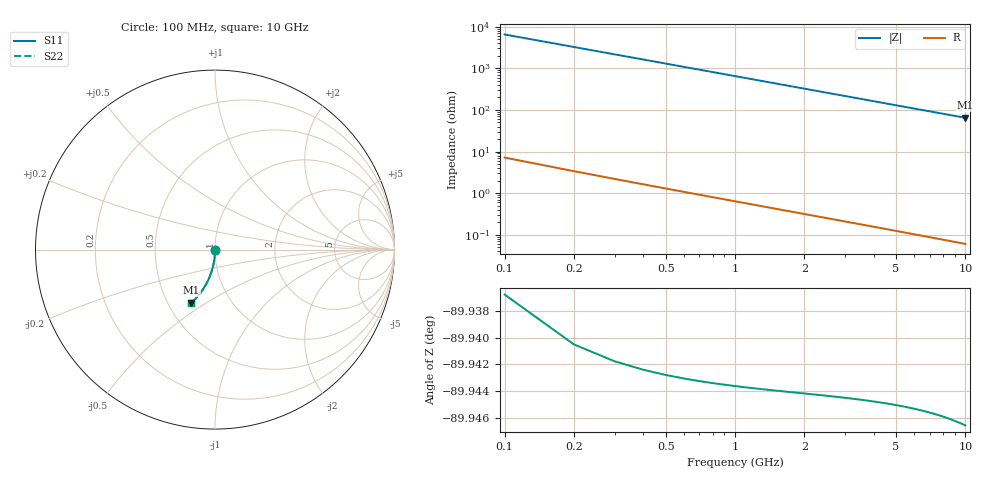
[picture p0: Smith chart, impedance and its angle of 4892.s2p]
# Hz S RI R 50.00
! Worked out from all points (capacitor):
!   100 points, 100 MHz to 10 GHz, reference 50 ohm
!   read as one part in shunt: C = 244 fF near 100 MHz
!   lowest |Z| = 64.9 ohm at 10 GHz (marker M1)
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1e8  9.66e-05 -0.00341  0.9999 -0.00427  0.9999 -0.00427  9.66e-05 -0.00341
2e8  5e-05 -0.00682  0.9998 -0.00854  0.9998 -0.00854  5e-05 -0.00682
3e8  -2.6e-05 -0.0102  0.9997 -0.0128  0.9997 -0.0128  -2.6e-05 -0.0102
4e8  -0.000131 -0.0136  0.9996 -0.0171  0.9996 -0.0171  -0.000131 -0.0136
5e8  -0.000266 -0.0171  0.9995 -0.0213  0.9995 -0.0213  -0.000266 -0.0171
6e8  -0.000429 -0.0205  0.9993 -0.0256  0.9993 -0.0256  -0.000429 -0.0205
7e8  -0.000622 -0.0239  0.9991 -0.0299  0.9991 -0.0299  -0.000622 -0.0239
8e8  -0.000844 -0.0273  0.9989 -0.0341  0.9989 -0.0341  -0.000844 -0.0273
9e8  -0.00109 -0.0307  0.9986 -0.0384  0.9986 -0.0384  -0.00109 -0.0307
1.1e9  -0.00168 -0.0375  0.998 -0.0469  0.998 -0.0469  -0.00168 -0.0375
1.4e9  -0.00279 -0.0477  0.9969 -0.0597  0.9969 -0.0597  -0.00279 -0.0477
1.8e9  -0.00466 -0.0612  0.995 -0.0766  0.995 -0.0766  -0.00466 -0.0612
2.1e9  -0.00637 -0.0713  0.9932 -0.0893  0.9932 -0.0893  -0.00637 -0.0713
2.5e9  -0.00904 -0.0846  0.9905 -0.1061  0.9905 -0.1061  -0.00904 -0.0846
2.9e9  -0.0122 -0.0979  0.9873 -0.1229  0.9873 -0.1229  -0.0122 -0.0979
3.4e9  -0.0167 -0.1143  0.9826 -0.1436  0.9826 -0.1436  -0.0167 -0.1143
4.2e9  -0.0254 -0.14  0.9737 -0.1762  0.9737 -0.1762  -0.0254 -0.14
5.1e9  -0.0371 -0.168  0.9617 -0.2121  0.9617 -0.2121  -0.0371 -0.168
5.9e9  -0.0492 -0.1919  0.9492 -0.243  0.9492 -0.243  -0.0492 -0.1919
6.7e9  -0.0628 -0.2147  0.9353 -0.2729  0.9353 -0.2729  -0.0628 -0.2147
8.4e9  -0.0959 -0.2593  0.9012 -0.3325  0.9012 -0.3325  -0.0959 -0.2593
1e10  -0.1314 -0.2958  0.8645 -0.3834  0.8645 -0.3834  -0.1314 -0.2958
